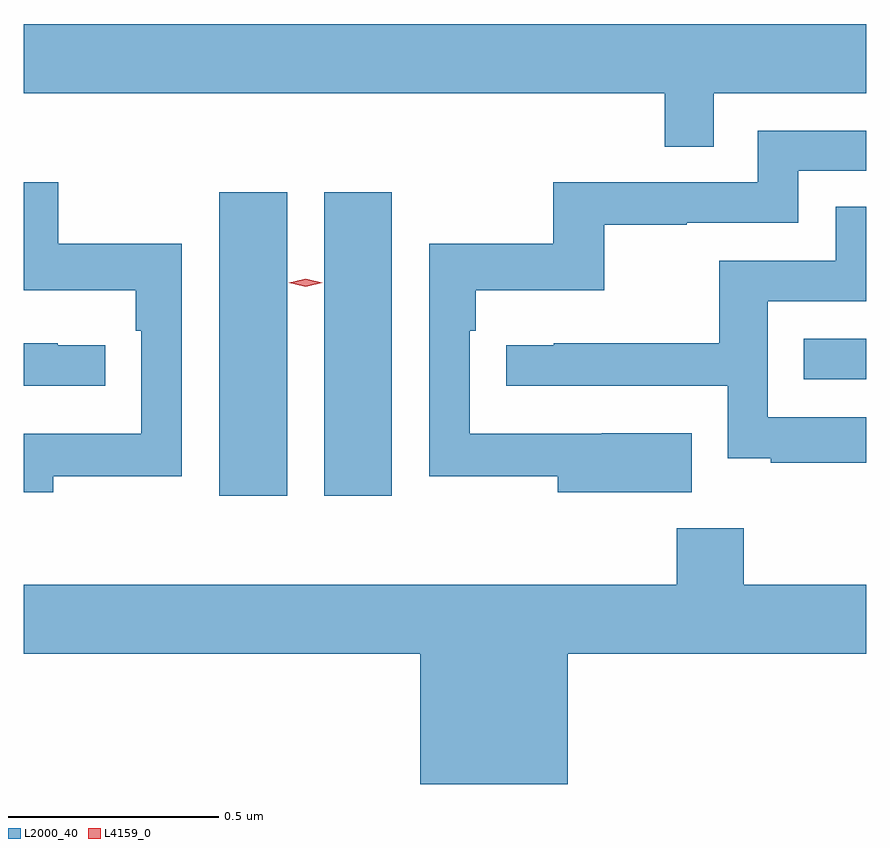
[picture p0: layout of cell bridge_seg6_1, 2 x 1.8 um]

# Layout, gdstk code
import gdstk
lib = gdstk.Library(unit=1e-6, precision=1e-09)
def R(c, l, rs):  # rectangles x0, y0, x1, y1
    for r in rs: c.add(gdstk.rectangle(r[:2], r[2:], *l))
def P(c, l, *ps):  # polygons
    for p in ps: c.add(gdstk.Polygon(p, *l))
L2000_40 = (2000, 40)
L4159_0 = (4159, 0)

bridge_seg6_1 = lib.new_cell('bridge_seg6_1')
R(bridge_seg6_1, L2000_40, [(882.611,931.728,882.772,932.449), (882.86,931.728,883.021,932.449), (883.999,932.004,884.147,932.1)])
P(bridge_seg6_1, L2000_40, [(883.785,932.684),(884.147,932.684),(884.147,932.848),(882.147,932.848),(882.147,932.684),(883.669,932.684),(883.669,932.557),(883.785,932.557)],
  [(883.733,931.876),(883.519,931.876),(883.519,931.875),(883.206,931.875),(883.206,932.12),(883.22,932.12),(883.22,932.216),(883.525,932.216),(883.525,932.371),(883.721,932.371),(883.721,932.376),(883.986,932.376),(883.986,932.499),(884.147,932.499),(884.147,932.595),(883.89,932.595),(883.89,932.472),(883.404,932.472),(883.404,932.326),(883.11,932.326),(883.11,931.774),(883.415,931.774),(883.415,931.736),(883.733,931.736)],
  [(882.217,931.774),(882.522,931.774),(882.522,932.326),(882.229,932.326),(882.229,932.472),(882.147,932.472),(882.147,932.216),(882.413,932.216),(882.413,932.12),(882.426,932.12),(882.426,931.875),(882.147,931.875),(882.147,931.736),(882.217,931.736)],
  [(884.147,931.914),(883.914,931.914),(883.914,932.19),(884.147,932.19),(884.147,932.414),(884.075,932.414),(884.075,932.286),(883.798,932.286),(883.798,932.09),(883.405,932.09),(883.405,932.085),(883.293,932.085),(883.293,931.989),(883.818,931.989),(883.818,931.817),(883.921,931.817),(883.921,931.806),(884.147,931.806)],
  [(882.34,932.085),(882.227,932.085),(882.227,932.09),(882.147,932.09),(882.147,931.989),(882.34,931.989)],
  [(883.438,931.352),(884.147,931.352),(884.147,931.516),(883.857,931.516),(883.857,931.651),(883.697,931.651),(883.697,931.516),(882.147,931.516),(882.147,931.352),(883.088,931.352),(883.088,931.043),(883.438,931.043)])
P(bridge_seg6_1, L4159_0, [(882.816,932.224),(882.776,932.233),(882.776,932.234),(882.776,932.234),(882.816,932.243),(882.856,932.234),(882.856,932.234),(882.856,932.233)])

lib.write_gds('bridge_seg6_1.gds')
